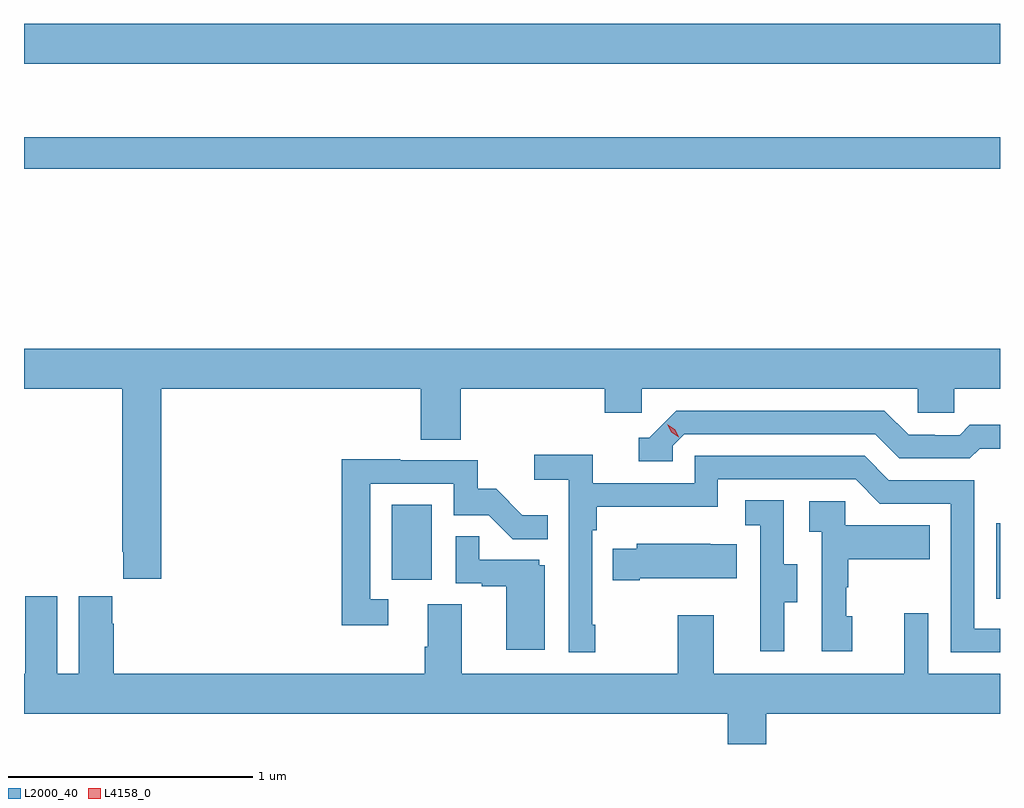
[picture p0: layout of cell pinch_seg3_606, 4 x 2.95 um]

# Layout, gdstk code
import gdstk
lib = gdstk.Library(unit=1e-6, precision=1e-09)
def R(c, l, rs):  # rectangles x0, y0, x1, y1
    for r in rs: c.add(gdstk.rectangle(r[:2], r[2:], *l))
def P(c, l, *ps):  # polygons
    for p in ps: c.add(gdstk.Polygon(p, *l))
L2000_40 = (2000, 40)
L4158_0 = (4158, 0)

pinch_seg3_606 = lib.new_cell('pinch_seg3_606')
R(pinch_seg3_606, L2000_40, [(1046.916,697.392,1046.932,697.702), (1044.44,697.47,1044.604,697.777), (1042.932,699.154,1046.932,699.283), (1042.932,699.584,1046.932,699.748)])
P(pinch_seg3_606, L2000_40, [(1043.495,698.252),(1044.557,698.252),(1044.557,698.044),(1044.722,698.044),(1044.722,698.252),(1045.313,698.252),(1045.313,698.154),(1045.464,698.154),(1045.464,698.252),(1046.595,698.252),(1046.595,698.154),(1046.745,698.154),(1046.745,698.252),(1046.932,698.252),(1046.932,698.416),(1042.932,698.416),(1042.932,698.252),(1043.335,698.252),(1043.335,697.585),(1043.339,697.585),(1043.339,697.473),(1043.495,697.473)],
  [(1045.59,698.019),(1045.638,698.067),(1046.421,698.067),(1046.52,697.968),(1046.809,697.968),(1046.848,698.007),(1046.932,698.007),(1046.932,698.104),(1046.809,698.104),(1046.767,698.061),(1046.664,698.061),(1046.664,698.064),(1046.557,698.064),(1046.458,698.163),(1045.605,698.163),(1045.494,698.052),(1045.451,698.052),(1045.451,697.956),(1045.59,697.956)],
  [(1045.273,697.285),(1045.26,697.285),(1045.26,697.673),(1045.28,697.673),(1045.28,697.769),(1045.776,697.769),(1045.776,697.881),(1046.34,697.881),(1046.439,697.782),(1046.73,697.782),(1046.73,697.173),(1046.932,697.173),(1046.932,697.269),(1046.826,697.269),(1046.826,697.878),(1046.476,697.878),(1046.377,697.977),(1045.68,697.977),(1045.68,697.866),(1045.262,697.866),(1045.262,697.982),(1045.023,697.982),(1045.023,697.88),(1045.164,697.88),(1045.164,697.173),(1045.273,697.173)],
  [(1044.424,697.389),(1044.351,697.389),(1044.351,697.863),(1044.693,697.863),(1044.693,697.734),(1044.837,697.734),(1044.935,697.636),(1045.079,697.636),(1045.079,697.735),(1044.975,697.735),(1044.868,697.842),(1044.792,697.842),(1044.792,697.959),(1044.473,697.959),(1044.473,697.964),(1044.235,697.964),(1044.235,697.284),(1044.424,697.284)],
  [(1046.047,697.378),(1046.101,697.378),(1046.101,697.533),(1046.046,697.533),(1046.046,697.796),(1045.887,697.796),(1045.887,697.693),(1045.95,697.693),(1045.95,697.389),(1045.949,697.389),(1045.949,697.176),(1046.047,697.176)],
  [(1046.326,697.32),(1046.301,697.32),(1046.301,697.439),(1046.311,697.439),(1046.311,697.553),(1046.645,697.553),(1046.645,697.693),(1046.298,697.693),(1046.298,697.791),(1046.151,697.791),(1046.151,697.667),(1046.202,697.667),(1046.202,697.176),(1046.326,697.176)],
  [(1045.066,697.53),(1045.044,697.53),(1045.044,697.551),(1044.797,697.551),(1044.797,697.649),(1044.702,697.649),(1044.702,697.455),(1044.809,697.455),(1044.809,697.443),(1044.908,697.443),(1044.908,697.182),(1045.066,697.182)],
  [(1045.456,697.475),(1045.853,697.475),(1045.853,697.615),(1045.745,697.615),(1045.745,697.618),(1045.443,697.618),(1045.443,697.597),(1045.345,697.597),(1045.345,697.468),(1045.456,697.468)],
  [(1045.973,696.92),(1046.932,696.92),(1046.932,697.084),(1046.637,697.084),(1046.637,697.333),(1046.54,697.333),(1046.54,697.084),(1045.759,697.084),(1045.759,697.324),(1045.612,697.324),(1045.612,697.084),(1044.727,697.084),(1044.727,697.37),(1044.587,697.37),(1044.587,697.196),(1044.575,697.196),(1044.575,697.084),(1043.3,697.084),(1043.3,697.289),(1043.293,697.289),(1043.293,697.402),(1043.156,697.402),(1043.156,697.084),(1043.068,697.084),(1043.068,697.402),(1042.937,697.402),(1042.937,697.084),(1042.932,697.084),(1042.932,696.92),(1045.817,696.92),(1045.817,696.796),(1045.973,696.796)])
P(pinch_seg3_606, L4158_0, [(1045.615,698.054),(1045.585,698.074),(1045.569,698.107),(1045.569,698.107),(1045.569,698.107),(1045.6,698.087),(1045.616,698.055),(1045.616,698.054)])

lib.write_gds('pinch_seg3_606.gds')
